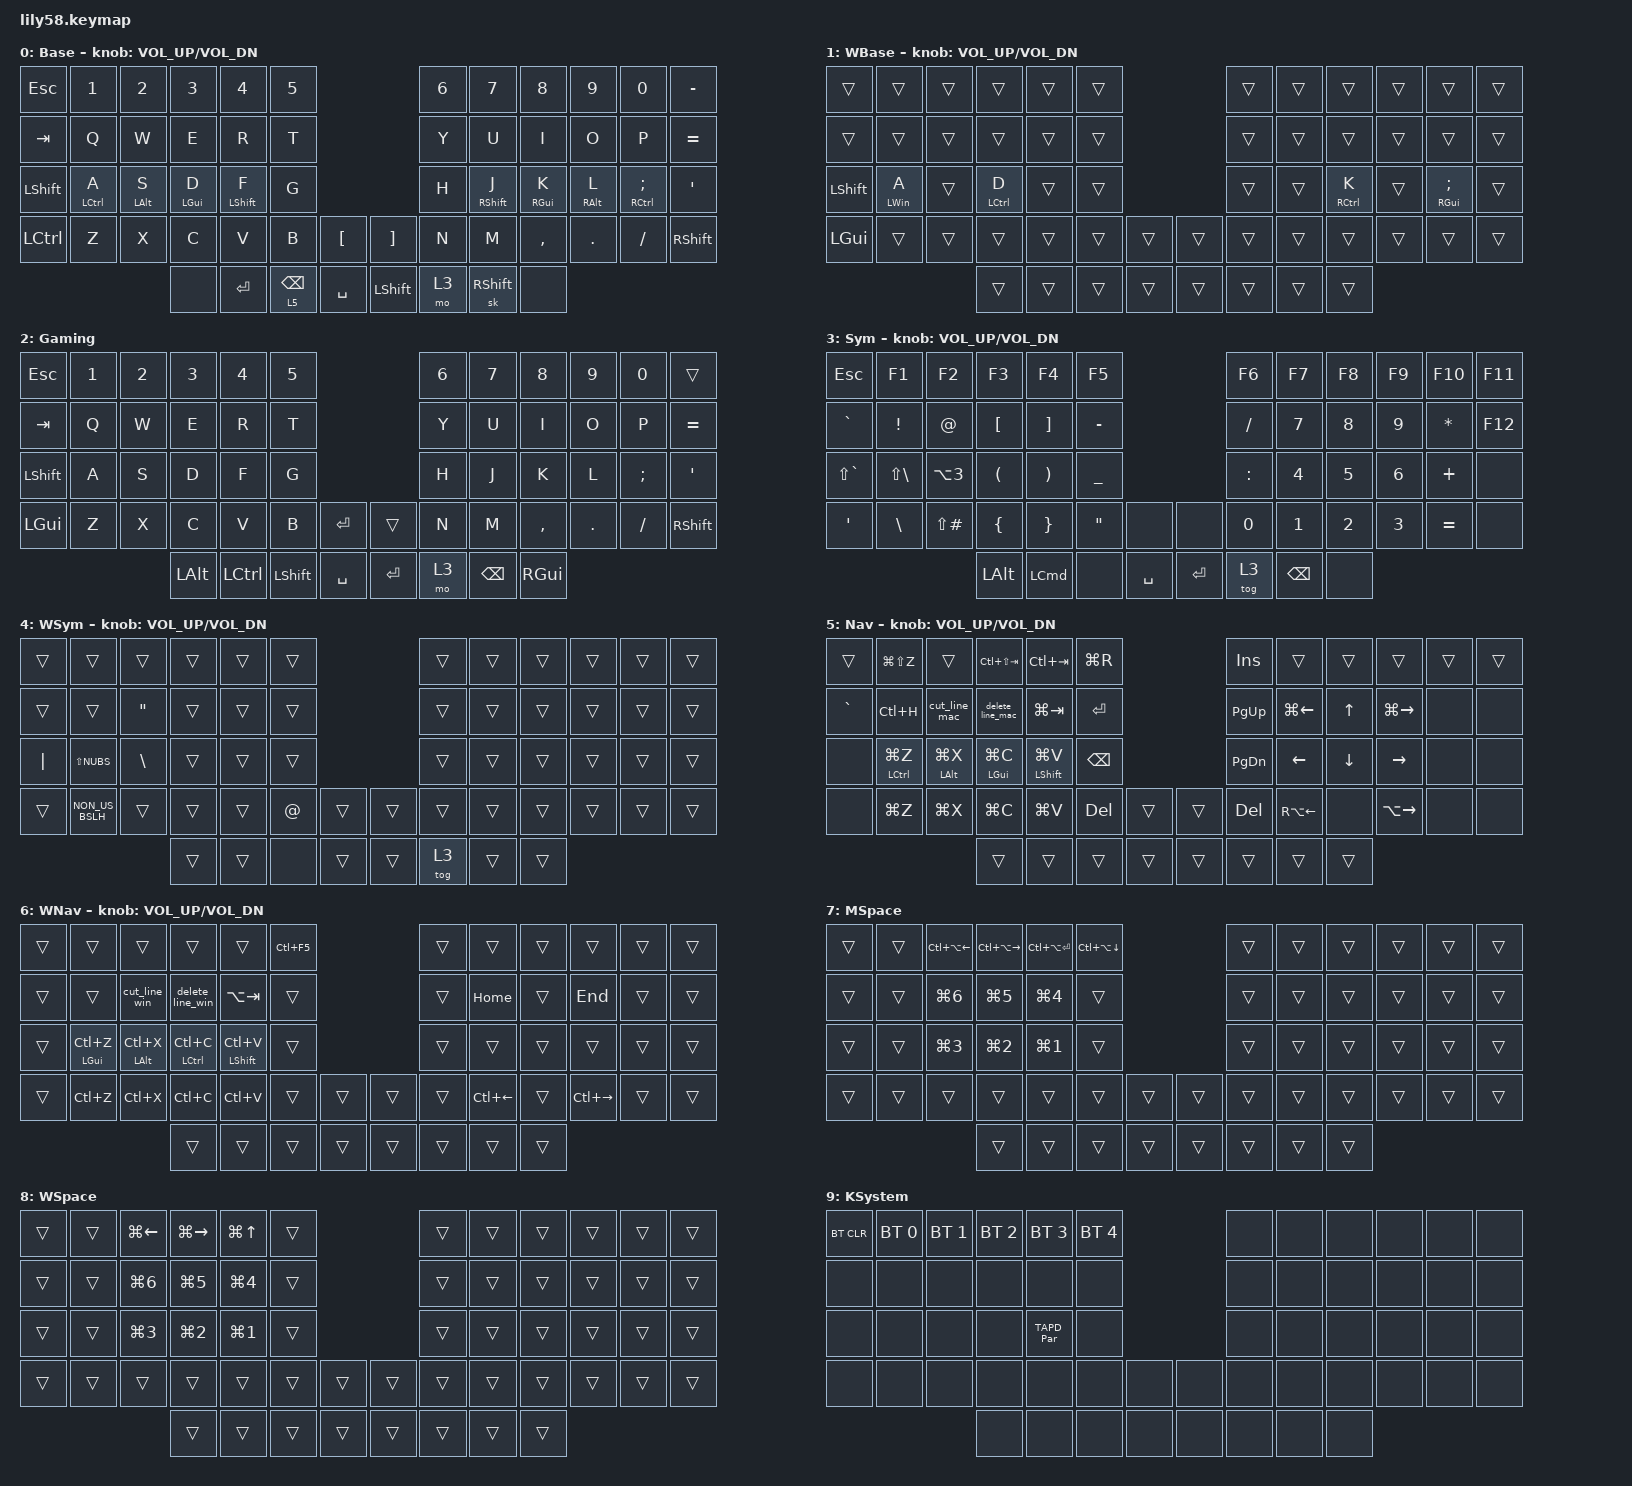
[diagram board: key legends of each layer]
/*
 * Copyright (c) 2020 The ZMK Contributors
 *
 * SPDX-License-Identifier: MIT
 */

#include "keys_uk.h"
#include <behaviors.dtsi>
#include <dt-bindings/zmk/bt.h>
#include <dt-bindings/zmk/keys.h>



/ {
    macros {
        select_word_mac: select_word_mac {
            compatible = "zmk,behavior-macro";
            #binding-cells = <0>;
            bindings =
                <&macro_press>,
                <&kp LEFT_ALT>,
                <&macro_tap>,
                <&kp LEFT>,
                <&macro_press>,
                <&kp LEFT_SHIFT>,
                <&macro_tap>,
                <&kp RIGHT>,
                <&macro_release>,
                <&kp LEFT_ALT &kp LEFT_SHIFT>;

            label = "SELECT_WORD";
        };

        delete_line_mac: delete_line_mac {
            compatible = "zmk,behavior-macro";
            #binding-cells = <0>;
            bindings =
                <&macro_press>,
                <&kp LEFT_GUI>,
                <&macro_tap>,
                <&kp LEFT>,
                <&macro_press>,
                <&kp LEFT_SHIFT>,
                <&macro_tap>,
                <&kp RIGHT>,
                <&macro_release>,
                <&kp LEFT_GUI &kp LEFT_SHIFT>,
                <&macro_tap>,
                <&kp BACKSPACE>;

            label = "DELETE_LINE_MAC";
        };

        delete_line_win: delete_line_win {
            compatible = "zmk,behavior-macro";
            #binding-cells = <0>;
            bindings =
                <&macro_tap>,
                <&kp HOME>,
                <&macro_press>,
                <&kp LEFT_SHIFT>,
                <&macro_tap>,
                <&kp END>,
                <&macro_release>,
                <&kp LEFT_SHIFT>,
                <&macro_tap>,
                <&kp BACKSPACE>;

            label = "DELETE_LINE_WIN";
        };

        cut_line_mac: cut_line_mac {
            compatible = "zmk,behavior-macro";
            #binding-cells = <0>;
            bindings =
                <&macro_press>,
                <&kp LEFT_GUI>,
                <&macro_tap>,
                <&kp LEFT>,
                <&macro_press>,
                <&kp LEFT_SHIFT>,
                <&macro_tap>,
                <&kp RIGHT>,
                <&macro_release>,
                <&kp LEFT_GUI &kp LEFT_SHIFT>,
                <&macro_tap>,
                <&kp LG(X)>;

            label = "CUT_LINE_MAC";
        };

        cut_line_win: cut_line_win {
            compatible = "zmk,behavior-macro";
            #binding-cells = <0>;
            bindings =
                <&macro_tap>,
                <&kp HOME>,
                <&macro_press>,
                <&kp LEFT_SHIFT>,
                <&macro_tap>,
                <&kp END>,
                <&macro_release>,
                <&kp LEFT_SHIFT>,
                <&macro_tap>,
                <&kp LC(X)>;

            label = "CUT_LINE_WIN";
        };
    };

    combos {
        compatible = "zmk,combos";

        base_switch_to_windows {
            bindings = <&to 1>;
            key-positions = <11 49>;
            layers = <0>;
        };

        windows_switch_to_game {
            bindings = <&to 2>;
            key-positions = <11 49>;
            layers = <1>;
        };

        bootloader_left {
            bindings = <&bootloader>;
            key-positions = <0 5>;
        };

        bootloader_right {
            bindings = <&bootloader>;
            key-positions = <6 11>;
        };

        game_switch_to_base {
            bindings = <&to 0>;
            key-positions = <11 49>;
            layers = <2>;
        };

        switch_to_system {
            bindings = <&to 8>;
            key-positions = <0 36>;
            layers = <0 1 2>;
        };

        system_switch_to_base {
            bindings = <&to 0>;
            key-positions = <0 36>;
            layers = <8>;
        };

        caps_word {
            bindings = <&caps_word>;
            key-positions = <28 31>;
            layers = <0 1>;
        };

        EscFD {
            bindings = <&kp ESCAPE>;
            key-positions = <27 28>;
            layers = <0 1>;
        };

        EscJK {
            bindings = <&kp ESCAPE>;
            key-positions = <32 31>;
            layers = <0 1>;
        };

        capsword_T {
            bindings = <&caps_word>;
            key-positions = <56 51>;
            layers = <0 1>;
        };

        vertical_return {
            bindings = <&kp RET>;
            key-positions = <16 28>;
            layers = <0 1>;
        };

        horizontal_return {
            bindings = <&kp RET>;
            key-positions = <16 15>;
            layers = <0 1>;
        };
    };

    behaviors {
        HRML: HRML {
            compatible = "zmk,behavior-hold-tap";
            label = "HRML";
            bindings = <&kp>, <&kp>;

            #binding-cells = <2>;
            tapping-term-ms = <280>;
            flavor = "balanced";
            hold-trigger-key-positions = <6 7 8 9 10 11 18 19 20 21 22 23 30 31 32 33 34 35 44 45 46 47 48 49 55 56 57 54 43 42 53 52 51 50 0 12 24 36>;
            quick-tap-ms = <175>;
            require-prior-idle-ms = <150>;
            hold-trigger-on-release;
        };

        HMRR: HMRR {
            compatible = "zmk,behavior-hold-tap";
            label = "HMRR";
            bindings = <&kp>, <&kp>;

            #binding-cells = <2>;
            tapping-term-ms = <280>;
            flavor = "balanced";
            hold-trigger-key-positions = <0 1 5 12 13 14 15 16 17 24 25 26 27 28 29 36 37 38 39 40 41 42 50 51 52 53 2 3 4 43 54 55 56 57 11 35 23 49>;
            quick-tap-ms = <175>;
            require-prior-idle-ms = <150>;
            hold-trigger-on-release;
        };

        TAPD_Par: TAPD_Par {
            compatible = "zmk,behavior-tap-dance";
            label = "TAPD_PAR";
            #binding-cells = <0>;
            bindings = <&kp LEFT_PARENTHESIS>, <&kp RIGHT_PARENTHESIS>;
        };

        TH_layer: TH_layer {
            compatible = "zmk,behavior-hold-tap";
            label = "TH_LAYER";
            bindings = <&mo>, <&tog>;

            #binding-cells = <2>;
            tapping-term-ms = <280>;
            hold-trigger-on-release;
        };

        space_layer: space_layer {
            compatible = "zmk,behavior-hold-tap";
            label = "SPACE_LAYER";
            bindings = <&mo>, <&kp>;

            #binding-cells = <2>;
            tapping-term-ms = <280>;
            hold-trigger-on-release;
            flavor = "hold-preferred";
        };

        backspace_layer: backspace_layer {
            compatible = "zmk,behavior-hold-tap";
            label = "BACKSPACE_LAYER";
            bindings = <&mo>, <&kp>;

            #binding-cells = <2>;
            tapping-term-ms = <280>;
            hold-trigger-on-release;
            flavor = "hold-preferred";
        };
    };

    keymap {
        compatible = "zmk,keymap";

        default_layer {
            // ------------------------------------------------------------------------------------------------------------
            // |  ESC  |  1  |  2  |  3   |  4   |  5   |                   |  6   |  7    |  8    |  9   |   0   |   `   |
            // |  TAB  |  Q  |  W  |  E   |  R   |  T   |                   |  Y   |  U    |  I    |  O   |   P   |   -   |
            // |  CTRL |  A  |  S  |  D   |  F   |  G   |                   |  H   |  J    |  K    |  L   |   ;   |   '   |
            // | SHIFT |  Z  |  X  |  C   |  V   |  B   |   "["  |  |  "]"  |  N   |  M    |  ,    |  .   |   /   | SHIFT |
            //                     | ALT  | GUI  | LOWER|  SPACE |  | ENTER | RAISE| BSPC  | GUI   |

            label = "Base";
            bindings = <
&kp ESC         &kp N1         &kp N2            &kp N3            &kp N4              &kp N5                                                     &kp N6  &kp N7               &kp N8             &kp N9             &kp N0                 &kp MINUS
&kp TAB         &kp Q          &kp W             &kp E             &kp R               &kp T                                                      &kp Y   &kp U                &kp I              &kp O              &kp P                  &kp EQUAL
&kp LEFT_SHIFT  &HRML LCTRL A  &HRML LEFT_ALT S  &HRML LEFT_GUI D  &HRML LEFT_SHIFT F  &kp G                                                      &kp H   &HMRR RIGHT_SHIFT J  &HMRR RIGHT_GUI K  &HMRR RIGHT_ALT L  &HMRR RCTRL SEMICOLON  &kp SQT
&kp LCTRL       &kp Z          &kp X             &kp C             &kp V               &kp B                         &kp LBKT     &kp RBKT        &kp N   &kp M                &kp COMMA          &kp DOT            &kp FSLH               &kp RIGHT_SHIFT
                                                 &none             &kp ENTER           &backspace_layer 5 BACKSPACE  &kp SPACE    &kp LEFT_SHIFT  &mo 3   &sk RIGHT_SHIFT      &none
            >;

            sensor-bindings = <&inc_dec_kp C_VOL_UP C_VOL_DN>;
        };

        windows_layer {
            // ------------------------------------------------------------------------------------------------------------
            // |  ESC  |  1  |  2  |  3   |  4   |  5   |                   |  6   |  7    |  8    |  9   |   0   |   `   |
            // |  TAB  |  Q  |  W  |  E   |  R   |  T   |                   |  Y   |  U    |  I    |  O   |   P   |   -   |
            // |  CTRL |  A  |  S  |  D   |  F   |  G   |                   |  H   |  J    |  K    |  L   |   ;   |   '   |
            // | SHIFT |  Z  |  X  |  C   |  V   |  B   |   "["  |  |  "]"  |  N   |  M    |  ,    |  .   |   /   | SHIFT |
            //                     | ALT  | GUI  | LOWER|  SPACE |  | ENTER | RAISE| BSPC  | GUI   |

            label = "WBase";
            bindings = <
&trans          &trans        &trans  &trans                &trans  &trans                    &trans  &trans  &trans                 &trans  &trans                     &trans
&trans          &trans        &trans  &trans                &trans  &trans                    &trans  &trans  &trans                 &trans  &trans                     &trans
&kp LEFT_SHIFT  &HRML LWIN A  &trans  &HRML LEFT_CONTROL D  &trans  &trans                    &trans  &trans  &HMRR RIGHT_CONTROL K  &trans  &HMRR RIGHT_GUI SEMICOLON  &trans
&kp LEFT_GUI    &trans        &trans  &trans                &trans  &trans  &trans    &trans  &trans  &trans  &trans                 &trans  &trans                     &trans
                                      &trans                &trans  &trans  &trans    &trans  &trans  &trans  &trans
            >;

            sensor-bindings = <&inc_dec_kp C_VOL_UP C_VOL_DN>;
        };

        gaming_layer {
            // ------------------------------------------------------------------------------------------------------------
            // |  ESC  |  1  |  2  |  3   |  4   |  5   |                   |  6   |  7    |  8    |  9   |   0   |   `   |
            // |  TAB  |  Q  |  W  |  E   |  R   |  T   |                   |  Y   |  U    |  I    |  O   |   P   |   -   |
            // |  CTRL |  A  |  S  |  D   |  F   |  G   |                   |  H   |  J    |  K    |  L   |   ;   |   '   |
            // | SHIFT |  Z  |  X  |  C   |  V   |  B   |   "["  |  |  "]"  |  N   |  M    |  ,    |  .   |   /   | SHIFT |
            //                     | ALT  | GUI  | LOWER|  SPACE |  | ENTER | RAISE| BSPC  | GUI   |

            label = "GBase";
            bindings = <
&kp ESC       &kp N1  &kp N2  &kp N3    &kp N4     &kp N5                                &kp N6  &kp N7    &kp N8     &kp N9   &kp N0         &trans
&kp TAB       &kp Q   &kp W   &kp E     &kp R      &kp T                                 &kp Y   &kp U     &kp I      &kp O    &kp P          &kp EQUAL
&kp LSHIFT    &kp A   &kp S   &kp D     &kp F      &kp G                                 &kp H   &kp J     &kp K      &kp L    &kp SEMICOLON  &kp SQT
&kp LEFT_GUI  &kp Z   &kp X   &kp C     &kp V      &kp B           &kp ENTER    &trans   &kp N   &kp M     &kp COMMA  &kp DOT  &kp FSLH       &kp RSHFT
                              &kp LALT  &kp LCTRL  &kp LEFT_SHIFT  &kp SPACE    &kp RET  &mo 3   &kp BSPC  &kp RGUI
            >;

            label = "Gaming";
        };

        symbol_layer {
            // ------------------------------------------------------------------------------------------------------------
            // | BTCLR | BT1 | BT2 |  BT3 |  BT4 |  BT5 |                   |      |       |       |      |       |       |
            // |  F1   |  F2 |  F3 |  F4  |  F5  |  F6  |                   |  F7  |  F8   |  F9   |  F10 |  F11  |  F12  |
            // |   `   |  !  |  @  |  #   |  $   |  %   |                   |  ^   |  &    |  *    |  (   |   )   |   ~   |
            // |       |     |     |      |      |      |        |  |       |      |  _    |  +    |  {   |   }   |  "|"  |
            //                     |      |      |      |        |  |       |      |       |       |

            label = "Sym";
            bindings = <
&kp ESC           &kp F1             &kp F2            &kp F3                &kp F4                 &kp F5                                   &kp F6        &kp F7         &kp F8  &kp F9  &kp F10    &kp F11
&kp GRAVE         &kp EXCL           &kp AT_SIGN       &kp LBKT              &kp RBKT               &kp MINUS                                &kp SLASH     &kp N7         &kp N8  &kp N9  &kp ASTRK  &kp F12
&kp LS(GRAVE)     &kp LS(BACKSLASH)  &kp LA(NUMBER_3)  &kp LEFT_PARENTHESIS  &kp RIGHT_PARENTHESIS  &kp UNDERSCORE                           &kp COLON     &kp N4         &kp N5  &kp N6  &kp PLUS   &none
&kp SINGLE_QUOTE  &kp BACKSLASH      &kp LS(POUND)     &kp LEFT_BRACE        &kp RIGHT_BRACE        &kp DOUBLE_QUOTES  &none        &none    &kp NUMBER_0  &kp N1         &kp N2  &kp N3  &kp EQUAL  &none
                                                       &kp LEFT_ALT          &kp LEFT_COMMAND       &none              &kp SPACE    &kp RET  &tog 3        &kp BACKSPACE  &none
            >;

            sensor-bindings = <&inc_dec_kp C_VOL_UP C_VOL_DN>;
        };

        windows_symbol_layer {
            // ------------------------------------------------------------------------------------------------------------
            // | BTCLR | BT1 | BT2 |  BT3 |  BT4 |  BT5 |                   |      |       |       |      |       |       |
            // |  F1   |  F2 |  F3 |  F4  |  F5  |  F6  |                   |  F7  |  F8   |  F9   |  F10 |  F11  |  F12  |
            // |   `   |  !  |  @  |  #   |  $   |  %   |                   |  ^   |  &    |  *    |  (   |   )   |   ~   |
            // |       |     |     |      |      |      |        |  |       |      |  _    |  +    |  {   |   }   |  "|"  |
            //                     |      |      |      |        |  |       |      |       |       |

            label = "WSym";
            bindings = <
&trans    &trans           &trans             &trans  &trans  &trans                         &trans  &trans  &trans  &trans  &trans  &trans
&trans    &trans           &kp DOUBLE_QUOTES  &trans  &trans  &trans                         &trans  &trans  &trans  &trans  &trans  &trans
&kp PIPE  &kp LS(NUBS)     &kp BACKSLASH      &trans  &trans  &trans                         &trans  &trans  &trans  &trans  &trans  &trans
&trans    &kp NON_US_BSLH  &trans             &trans  &trans  &kp AT_SIGN  &trans    &trans  &trans  &trans  &trans  &trans  &trans  &trans
                                              &trans  &trans  &none        &trans    &trans  &tog 3  &trans  &trans
            >;

            sensor-bindings = <&inc_dec_kp C_VOL_UP C_VOL_DN>;
        };

        nav_layer {
            // ------------------------------------------------------------------------------------------------------------
            // |       |     |     |      |      |      |                   |      |       |       |      |       |       |
            // |   `   |  1  |  2  |  3   |  4   |  5   |                   |  6   |   7   |   8   |  9   |   0   |       |
            // |   F1  |  F2 |  F3 |  F4  |  F5  |  F6  |                   |      |   <-  |   v   |  ^   |  ->   |       |
            // |   F7  |  F8 |  F9 |  F10 |  F11 |  F12 |        |  |       |  +   |   -   |   =   |  [   |   ]   |   \   |
            //                     |      |      |      |        |  |       |      |       |       |

            label = "Nav";
            bindings = <
&trans     &kp LG(LS(Z))      &trans                &kp LC(LS(TAB))   &kp LC(TAB)             &kp LG(R)                        &kp INS        &trans              &trans          &trans         &trans  &trans
&kp GRAVE  &kp LC(H)          &cut_line_mac         &delete_line_mac  &kp LG(TAB)             &kp ENTER                        &kp PAGE_UP    &kp LG(LEFT)        &kp UP_ARROW    &kp LG(RIGHT)  &none   &none
&none      &HRML LCTRL LG(Z)  &HRML LEFT_ALT LG(X)  &HRML LGUI LG(C)  &HRML LEFT_SHIFT LG(V)  &kp BACKSPACE                    &kp PAGE_DOWN  &kp LEFT_ARROW      &kp DOWN_ARROW  &kp RIGHT      &none   &none
&none      &kp LG(Z)          &kp LG(X)             &kp LG(C)         &kp LG(V)               &kp DELETE     &trans    &trans  &kp DELETE     &kp RA(LEFT_ARROW)  &none           &kp LA(RIGHT)  &none   &none
                                                    &trans            &trans                  &trans         &trans    &trans  &trans         &trans              &trans
            >;

            sensor-bindings = <&inc_dec_kp C_VOL_UP C_VOL_DN>;
        };

        windows_nav_layer {
            // ------------------------------------------------------------------------------------------------------------
            // |       |     |     |      |      |      |                   |      |       |       |      |       |       |
            // |   `   |  1  |  2  |  3   |  4   |  5   |                   |  6   |   7   |   8   |  9   |   0   |       |
            // |   F1  |  F2 |  F3 |  F4  |  F5  |  F6  |                   |      |   <-  |   v   |  ^   |  ->   |       |
            // |   F7  |  F8 |  F9 |  F10 |  F11 |  F12 |        |  |       |  +   |   -   |   =   |  [   |   ]   |   \   |
            //                     |      |      |      |        |  |       |      |       |       |

            label = "WNav";
            bindings = <
&trans  &trans                &trans                &trans             &trans                  &kp LC(F5)                    &trans  &trans              &trans  &trans         &trans  &trans
&trans  &trans                &cut_line_win         &delete_line_win   &kp LA(TAB)             &trans                        &trans  &kp HOME            &trans  &kp END        &trans  &trans
&trans  &HRML LEFT_GUI LC(Z)  &HRML LEFT_ALT LC(X)  &HRML LCTRL LC(C)  &HRML LEFT_SHIFT LC(V)  &trans                        &trans  &trans              &trans  &trans         &trans  &trans
&trans  &kp LC(Z)             &kp LC(X)             &kp LC(C)          &kp LC(V)               &trans      &trans    &trans  &trans  &kp LC(LEFT_ARROW)  &trans  &kp LC(RIGHT)  &trans  &trans
                                                    &trans             &trans                  &trans      &trans    &trans  &trans  &trans              &trans
            >;

            sensor-bindings = <&inc_dec_kp C_VOL_UP C_VOL_DN>;
        };

        mac_space_layer {
            bindings = <
&trans  &trans  &kp LC(LA(LEFT))  &kp LC(LA(RIGHT))  &kp LC(LA(RET))   &kp LC(LA(DOWN))                    &trans  &trans  &trans  &trans  &trans  &trans
&trans  &trans  &kp LG(NUMBER_6)  &kp LG(N5)         &kp LG(NUMBER_4)  &trans                              &trans  &trans  &trans  &trans  &trans  &trans
&trans  &trans  &kp LG(NUMBER_3)  &kp LG(NUMBER_2)   &kp LG(NUMBER_1)  &trans                              &trans  &trans  &trans  &trans  &trans  &trans
&trans  &trans  &trans            &trans             &trans            &trans            &trans    &trans  &trans  &trans  &trans  &trans  &trans  &trans
                                  &trans             &trans            &trans            &trans    &trans  &trans  &trans  &trans
            >;

            label = "MSpace";
        };

        win_space_layer {
            bindings = <
&trans  &trans  &kp LG(LEFT_ARROW)  &kp LG(RIGHT)     &kp LG(UP_ARROW)  &trans                    &trans  &trans  &trans  &trans  &trans  &trans
&trans  &trans  &kp LG(NUMBER_6)    &kp LG(N5)        &kp LG(NUMBER_4)  &trans                    &trans  &trans  &trans  &trans  &trans  &trans
&trans  &trans  &kp LG(NUMBER_3)    &kp LG(NUMBER_2)  &kp LG(NUMBER_1)  &trans                    &trans  &trans  &trans  &trans  &trans  &trans
&trans  &trans  &trans              &trans            &trans            &trans  &trans    &trans  &trans  &trans  &trans  &trans  &trans  &trans
                                    &trans            &trans            &trans  &trans    &trans  &trans  &trans  &trans
            >;

            label = "WSpace";
        };

        keyboard_system {
            bindings = <
&bt BT_CLR  &bt BT_SEL 0  &bt BT_SEL 1  &bt BT_SEL 2  &bt BT_SEL 3  &bt BT_SEL 4                  &none  &none  &none  &none  &none  &none
&none       &none         &none         &none         &none         &none                         &none  &none  &none  &none  &none  &none
&none       &none         &none         &none         &TAPD_Par     &none                         &none  &none  &none  &none  &none  &none
&none       &none         &none         &none         &none         &none         &none    &none  &none  &none  &none  &none  &none  &none
                                        &none         &none         &none         &none    &none  &none  &none  &none
            >;

            label = "KSystem";
        };
    };

    conditional_layers {
        compatible = "zmk,conditional-layers";

        Windows_Symbol_Activate {
            if-layers = <1 3>;
            then-layer = <4>;
        };

        Windows_Nav_Activate {
            if-layers = <1 5>;
            then-layer = <6>;
        };

        Gaming_Symbol_Activate {
            if-layers = <3 2>;
            then-layer = <4>;
        };

        Gaming_Nav_Activate {
            if-layers = <5 2>;
            then-layer = <6>;
        };

        window_space_activate {
            if-layers = <1 7>;
            then-layer = <8>;
        };
    };
};
